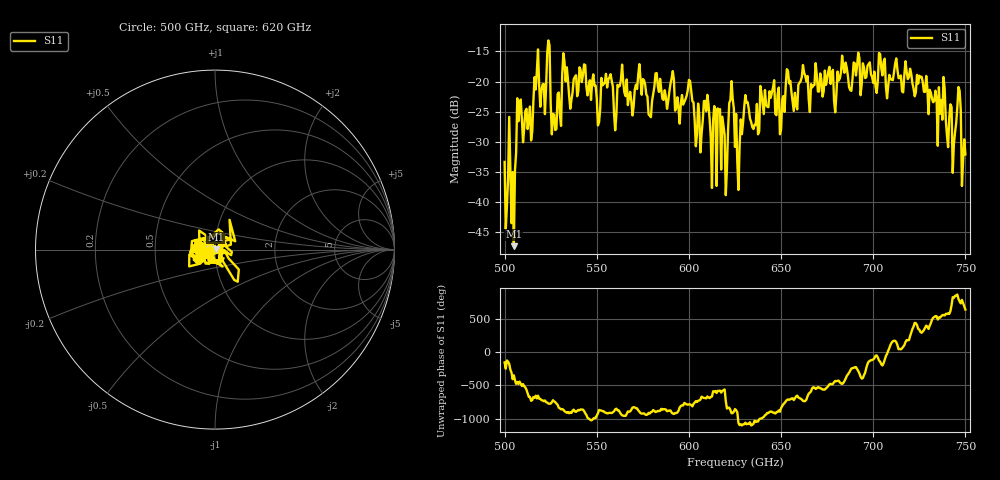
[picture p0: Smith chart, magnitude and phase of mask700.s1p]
!Created with skrf (http://scikit-rf.org).
# GHz S MA R 50.0
!freq magS11 angS11
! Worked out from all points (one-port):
!   401 points, 500 GHz to 750 GHz, reference 50 ohm
!   lowest |S11| = -47.3 dB at 505 GHz (marker M1), VSWR 1.01, Z = 50.4 + j0.0704 ohm
!   |S11| at or under -10 dB: start of sweep to end of sweep
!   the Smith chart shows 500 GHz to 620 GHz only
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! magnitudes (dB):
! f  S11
! 500 GHz  -33.3
! 505 GHz  -47.3
! 508.1 GHz  -24.4
! 513.8 GHz  -24.2
! 516.9 GHz  -21.3
! 523.8 GHz  -13.2
! 526.9 GHz  -25.5
! 531.2 GHz  -18.9
! 542.5 GHz  -19.0
! 550.6 GHz  -27.3
! 562.5 GHz  -20.7
! 578.8 GHz  -25.7
! 590.6 GHz  -19.5
! 593.8 GHz  -22.6
! 600 GHz  -19.7
! 605 GHz  -23.7
! 609.4 GHz  -24.9
! 620 GHz  -38.9
! 623.1 GHz  -19.9
! 625 GHz  -30.9
! 626.2 GHz  -33.4
! 631.2 GHz  -23.5
! 656.2 GHz  -23.3
! 687.5 GHz  -21.4
! 718.8 GHz  -19.6
! 743.8 GHz  -30.4
! 746.2 GHz  -20.9
! 750 GHz  -32.1
